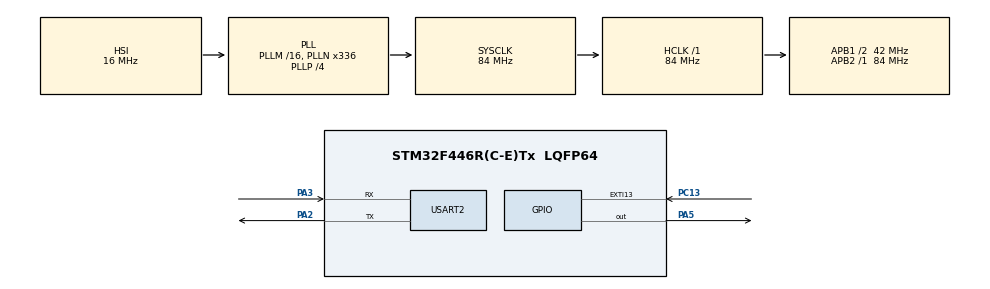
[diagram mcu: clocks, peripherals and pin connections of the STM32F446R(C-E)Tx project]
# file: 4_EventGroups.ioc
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FREERTOS.INCLUDE_xEventGroupSetBitFromISR=1
FREERTOS.INCLUDE_xTimerPendFunctionCall=1
FREERTOS.Tasks01=defaultTask,0,128,StartDefaultTask,Default,NULL,Dynamic,NULL,NULL
FREERTOS.configUSE_NEWLIB_REENTRANT=1
FREERTOS.configUSE_TIMERS=1
Mcu.Family=STM32F4
Mcu.Name=STM32F446R(C-E)Tx
Mcu.Package=LQFP64
NVIC.EXTI15_10_IRQn=true\:5\:0\:true\:false\:true\:true\:true\:true\:true
NVIC.PriorityGroup=NVIC_PRIORITYGROUP_4
NVIC.TIM6_DAC_IRQn=true\:15\:0\:false\:false\:true\:false\:false\:true\:true
NVIC.TimeBase=TIM6_DAC_IRQn
NVIC.TimeBaseIP=TIM6
NVIC.USART2_IRQn=true\:5\:0\:false\:false\:true\:true\:true\:true\:true
PA2.Mode=Asynchronous
PA2.Signal=USART2_TX
PA3.Mode=Asynchronous
PA3.Signal=USART2_RX
PA5.Signal=GPIO_Output
PC13.Signal=GPXTI13
ProjectManager.HeapSize=0x200
ProjectManager.StackSize=0x400
ProjectManager.TargetToolchain=STM32CubeIDE
RCC.AHBFreq_Value=84000000
RCC.APB1CLKDivider=RCC_HCLK_DIV2
RCC.APB1Freq_Value=42000000
RCC.APB1TimFreq_Value=84000000
RCC.APB2Freq_Value=84000000
RCC.APB2TimFreq_Value=84000000
RCC.CortexFreq_Value=84000000
RCC.FLatency-AdvancedSettings=FLASH_LATENCY_2
RCC.HCLKFreq_Value=84000000
RCC.HSE_VALUE=8000000
RCC.HSI_VALUE=16000000
RCC.LSE_VALUE=32768
RCC.PLLN=336
RCC.PLLP=RCC_PLLP_DIV4
RCC.SYSCLKFreq_VALUE=84000000
RCC.SYSCLKSource=RCC_SYSCLKSOURCE_PLLCLK
RCC.USBFreq_Value=168000000
RCC.VCOOutputFreq_Value=336000000
USART2.VirtualMode=VM_ASYNC
VP_FREERTOS_VS_CMSIS_V1.Mode=CMSIS_V1
VP_SYS_VS_tim6.Mode=TIM6
board=NUCLEO-F446RE

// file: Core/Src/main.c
/* USER CODE BEGIN Header */
/**
  ******************************************************************************
  * @file           : main.c
  * @brief          : Main program body
  ******************************************************************************
  * @attention
  *
  * Copyright (c) 2026 STMicroelectronics.
  * All rights reserved.
  *
  * This software is licensed under terms that can be found in the LICENSE file
  * in the root directory of this software component.
  * If no LICENSE file comes with this software, it is provided AS-IS.
  *
  ******************************************************************************
  */
/* USER CODE END Header */
#include "main.h"

/* USER CODE BEGIN Includes */

#include "FreeRTOS.h"
#include "task.h"
#include "timers.h"
#include "event_groups.h"

/* USER CODE END Includes */

UART_HandleTypeDef huart2;

/* USER CODE BEGIN PV */

/************** Create EventGroup and task handles *****************/
EventGroupHandle_t EventGroupTasks_handle;

const EventBits_t task01_bit = (1 << 0);
const EventBits_t task02_bit = (1 << 1);
const EventBits_t task03_bit = (1 << 2);

const EventBits_t combined_bits = (task01_bit | task02_bit | task03_bit);

TaskHandle_t Task01_handle, Task02_handle, Task03_handle, WatchDogTask_handle;

void Task01_Entry(void *arg){
	static int count  = 1;
	while(1){
		// sets the task01 bits if not 3 to simulate failure
		if(count % 3 == 0){
			// do nothing, something failed, at multiples of 3
			vTaskDelay(pdMS_TO_TICKS(1000));
		}else{
			xEventGroupSetBits(EventGroupTasks_handle, task01_bit);
			vTaskDelay(pdMS_TO_TICKS(1000));
		}
		count++;
	}
}

void Task02_Entry(void *arg){
	while(1){
		// sets the task02 bits
		xEventGroupSetBits(EventGroupTasks_handle, task02_bit);
		vTaskDelay(pdMS_TO_TICKS(1000));
	}
}

void Task03_Entry(void *arg){
	static int count = 1;
	while(1){
		// sets the task03 bits
		xEventGroupSetBits(EventGroupTasks_handle, task03_bit);
		vTaskDelay(pdMS_TO_TICKS(1000));

	}
}

void WatchDogTask_Entry(void *arg){
	while(1){
		// wait for all the bits to be set and check until the timeout/wait time of 2000ms
		EventBits_t uxBits = xEventGroupWaitBits(EventGroupTasks_handle, combined_bits, pdTRUE, pdTRUE, pdMS_TO_TICKS(2000));

		if((uxBits & combined_bits) == combined_bits){
			HAL_UART_Transmit(&huart2, (const uint8_t *)"All Tasks are running\r\n", 23, HAL_MAX_DELAY);
		}else{
			if((uxBits & task01_bit) != task01_bit){
				HAL_UART_Transmit(&huart2, (const uint8_t *)"Task 1 is not running\r\n", 23, HAL_MAX_DELAY);
			}
			if((uxBits & task02_bit) != task02_bit){
				HAL_UART_Transmit(&huart2, (const uint8_t *)"Task 2 is not running\r\n", 23, HAL_MAX_DELAY);
			}
			if((uxBits & task03_bit) != task03_bit){
				HAL_UART_Transmit(&huart2, (const uint8_t *)"Task 3 is not running\r\n", 23, HAL_MAX_DELAY);
			}
		}
	}
}
/* USER CODE END PV */

void SystemClock_Config(void);
static void MX_GPIO_Init(void);
static void MX_USART2_UART_Init(void);

int main(void)
{

  /* MCU Configuration--------------------------------------------------------*/

  /* Reset of all peripherals, Initializes the Flash interface and the Systick. */
  HAL_Init();

  /* Configure the system clock */
  SystemClock_Config();

  /* Initialize all configured peripherals */
  MX_GPIO_Init();
  MX_USART2_UART_Init();
  /* USER CODE BEGIN 2 */

  /****** Create EventGroup ************/

  EventGroupTasks_handle = xEventGroupCreate();
  if(EventGroupTasks_handle == NULL){
	  HAL_UART_Transmit(&huart2, (const uint8_t *)"EventGroup is not created\r\n", 27, HAL_MAX_DELAY);
  }else{
	  HAL_UART_Transmit(&huart2, (const uint8_t *)"EventGroup is created\r\n", 23, HAL_MAX_DELAY);
  }

  /************ Create tasks **************/
  BaseType_t task01_status, task02_status, task03_status;
  task01_status = xTaskCreate(Task01_Entry, "Task01", 128, NULL, 1, &Task01_handle);
  task02_status = xTaskCreate(Task02_Entry, "Task02", 128, NULL, 1, &Task02_handle);
  task03_status = xTaskCreate(Task03_Entry, "Task03", 128, NULL, 1, &Task03_handle);

  /******** Create way=tchDog Task to monitor the eventGroupSet by tasks, with Higher Prio *********/
  BaseType_t watchdogTask_status;
  watchdogTask_status = xTaskCreate(WatchDogTask_Entry, "WdgTask", 128, NULL, 2, &WatchDogTask_handle);

  if(task01_status == pdTRUE && task02_status == pdTRUE && task03_status == pdTRUE && watchdogTask_status == pdTRUE){
	HAL_UART_Transmit(&huart2, (const uint8_t *)"Tasks are created\r\n", 19, HAL_MAX_DELAY);
  }else{
	HAL_UART_Transmit(&huart2, (const uint8_t *)"Tasks are not created\r\n", 23, HAL_MAX_DELAY);
  }

  vTaskStartScheduler();
  /* We should never get here as control is now taken by the scheduler */

  /* USER CODE END 2 */

  /* Infinite loop */
  while (1)
  {

  }
}

void SystemClock_Config(void)
{
  RCC_OscInitTypeDef RCC_OscInitStruct = {0};
  RCC_ClkInitTypeDef RCC_ClkInitStruct = {0};

  /** Configure the main internal regulator output voltage
  */
  __HAL_RCC_PWR_CLK_ENABLE();
  __HAL_PWR_VOLTAGESCALING_CONFIG(PWR_REGULATOR_VOLTAGE_SCALE3);

  /** Initializes the RCC Oscillators according to the specified parameters
  * in the RCC_OscInitTypeDef structure.
  */
  RCC_OscInitStruct.OscillatorType = RCC_OSCILLATORTYPE_HSI;
  RCC_OscInitStruct.HSIState = RCC_HSI_ON;
  RCC_OscInitStruct.HSICalibrationValue = RCC_HSICALIBRATION_DEFAULT;
  RCC_OscInitStruct.PLL.PLLState = RCC_PLL_ON;
  RCC_OscInitStruct.PLL.PLLSource = RCC_PLLSOURCE_HSI;
  RCC_OscInitStruct.PLL.PLLM = 16;
  RCC_OscInitStruct.PLL.PLLN = 336;
  RCC_OscInitStruct.PLL.PLLP = RCC_PLLP_DIV4;
  RCC_OscInitStruct.PLL.PLLQ = 2;
  RCC_OscInitStruct.PLL.PLLR = 2;
  if (HAL_RCC_OscConfig(&RCC_OscInitStruct) != HAL_OK)
  {
    Error_Handler();
  }

  /** Initializes the CPU, AHB and APB buses clocks
  */
  RCC_ClkInitStruct.ClockType = RCC_CLOCKTYPE_HCLK|RCC_CLOCKTYPE_SYSCLK
                              |RCC_CLOCKTYPE_PCLK1|RCC_CLOCKTYPE_PCLK2;
  RCC_ClkInitStruct.SYSCLKSource = RCC_SYSCLKSOURCE_PLLCLK;
  RCC_ClkInitStruct.AHBCLKDivider = RCC_SYSCLK_DIV1;
  RCC_ClkInitStruct.APB1CLKDivider = RCC_HCLK_DIV2;
  RCC_ClkInitStruct.APB2CLKDivider = RCC_HCLK_DIV1;

  if (HAL_RCC_ClockConfig(&RCC_ClkInitStruct, FLASH_LATENCY_2) != HAL_OK)
  {
    Error_Handler();
  }
}

static void MX_USART2_UART_Init(void)
{

  huart2.Instance = USART2;
  huart2.Init.BaudRate = 115200;
  huart2.Init.WordLength = UART_WORDLENGTH_8B;
  huart2.Init.StopBits = UART_STOPBITS_1;
  huart2.Init.Parity = UART_PARITY_NONE;
  huart2.Init.Mode = UART_MODE_TX_RX;
  huart2.Init.HwFlowCtl = UART_HWCONTROL_NONE;
  huart2.Init.OverSampling = UART_OVERSAMPLING_16;
  if (HAL_UART_Init(&huart2) != HAL_OK)
  {
    Error_Handler();
  }

}

static void MX_GPIO_Init(void)
{
  GPIO_InitTypeDef GPIO_InitStruct = {0};

  /* GPIO Ports Clock Enable */
  __HAL_RCC_GPIOC_CLK_ENABLE();
  __HAL_RCC_GPIOA_CLK_ENABLE();

  /*Configure GPIO pin Output Level */
  HAL_GPIO_WritePin(GPIOA, GPIO_PIN_5, GPIO_PIN_RESET);

  /*Configure GPIO pin : PC13 */
  GPIO_InitStruct.Pin = GPIO_PIN_13;
  GPIO_InitStruct.Mode = GPIO_MODE_IT_RISING;
  GPIO_InitStruct.Pull = GPIO_NOPULL;
  HAL_GPIO_Init(GPIOC, &GPIO_InitStruct);

  /*Configure GPIO pin : PA5 */
  GPIO_InitStruct.Pin = GPIO_PIN_5;
  GPIO_InitStruct.Mode = GPIO_MODE_OUTPUT_PP;
  GPIO_InitStruct.Pull = GPIO_NOPULL;
  GPIO_InitStruct.Speed = GPIO_SPEED_FREQ_LOW;
  HAL_GPIO_Init(GPIOA, &GPIO_InitStruct);

  /* EXTI interrupt init*/
  HAL_NVIC_SetPriority(EXTI15_10_IRQn, 5, 0);
  HAL_NVIC_EnableIRQ(EXTI15_10_IRQn);

}

void HAL_TIM_PeriodElapsedCallback(TIM_HandleTypeDef *htim)
{
  if (htim->Instance == TIM6) {
    HAL_IncTick();
  }
}

void Error_Handler(void)
{
  __disable_irq();
  while (1)
  {
  }
}
